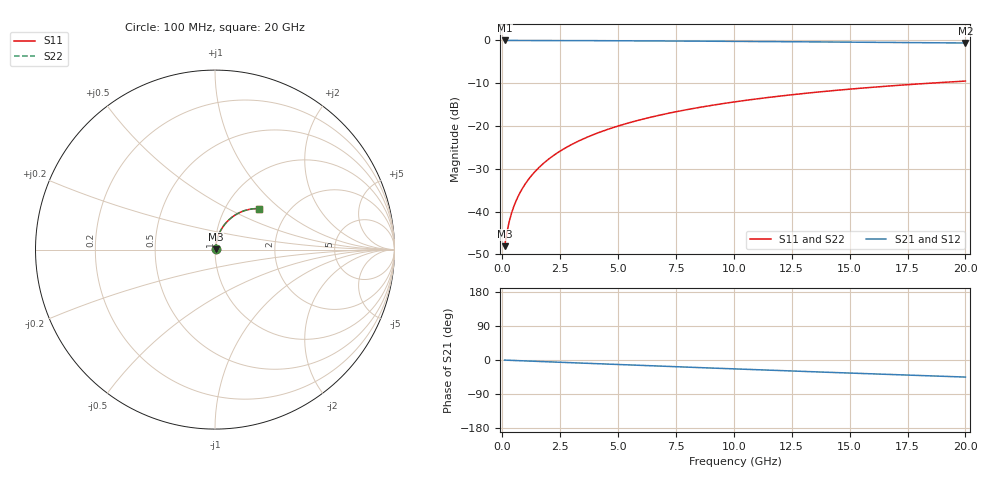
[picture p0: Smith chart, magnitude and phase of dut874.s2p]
! Touchstone file exported from HFSS 2026.1.0
!  File:  C:/ffzhzh/LocalFiles/Ansys_Project_Files/temp_train_BSMRDL_874_1783170945_51560.aedt
!  Generated:  09:16:56 PM Jul  4, 2026
!  Design:  BSMRDL
!  Project:  temp_train_BSMRDL_874_1783170945_51560
! Variables:
!  h_bsmrdl = 3.06um
!  h_ox = 20um
!  h_rdl = 5um
!  h_sub = 80um
!  h_tmrdl = 5um
!  h_tsv = 80um
!  h_via = 3um
!  l_bsmrdl = 697.11um
!  l_sub = 1097.11um
!  l_tmrdl = 200um
!  m_sub = 200um
!  pitch = 48.87um
!  r_tsv = 6um
!  s_tmrdl = 10um
!  w_bsmrdl = 28.24um
!  w_sub = 500um
!  w_tmrdl = 12um
!  x_tsv_center1 = 206um
!  x_tsv_center2 = 931.35um
!  x_tsv_center3 = 1143.35um
!  x_tsv_center4 = 1868.7um
!  x_tsv_center5 = 2080.7um
!  x_tsv_center6 = 2806.05um
# GHz S MA R 50.000000
! Terminal data exported
! Port[1] = BSM_RDL1_1_T1
! Port[2] = BSM_RDL1_1_T2
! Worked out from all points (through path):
!   200 points, 100 MHz to 20 GHz, reference 50 ohm
!   highest |S21| = -0.03 dB at 100 MHz (marker M1); lowest = -0.6 dB at 20 GHz (marker M2)
!   group delay of S21, straight-line fit = 6.26 ps
!   lowest |S11| = -48.1 dB at 100 MHz (marker M3), VSWR 1.01, Z = 50.3 + j0.237 ohm
!   |S11| at or under -10 dB: start of sweep to 18.5 GHz
!   |S22| runs from -48.1 to -9.5 dB; largest |S21 - S12| = 3.6e-15
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0.1  0.003939 36.6  0.9968 -0.3  0.9968 -0.3  0.003939 36.6
! Gamma 0 0 0 0
! Port Impedance 50 0 50 0
0.2  0.005712 53.5  0.9966 -0.5  0.9966 -0.5  0.005712 53.5
0.3  0.007648 61.3  0.9964 -0.8  0.9964 -0.8  0.007648 61.3
0.4  0.009583 65.7  0.9962 -1.0  0.9962 -1.0  0.009582 65.7
0.5  0.0115 68.7  0.996 -1.2  0.996 -1.2  0.0115 68.7
0.6  0.01342 70.9  0.9959 -1.5  0.9959 -1.5  0.01342 70.9
0.8  0.01728 73.9  0.9957 -1.9  0.9957 -1.9  0.01728 73.9
1.1  0.02313 76.4  0.9954 -2.7  0.9954 -2.7  0.02313 76.4
1.3  0.02707 77.4  0.9952 -3.1  0.9952 -3.1  0.02706 77.4
1.6  0.033 78.2  0.995 -3.9  0.995 -3.9  0.033 78.2
2.1  0.04293 78.7  0.9944 -5.0  0.9944 -5.0  0.04293 78.7
2.7  0.05484 78.4  0.9936 -6.5  0.9936 -6.5  0.05484 78.4
3.5  0.07063 77.4  0.9923 -8.4  0.9923 -8.4  0.07063 77.4
4.2  0.08432 76.2  0.9909 -10.0  0.9909 -10.0  0.08432 76.2
5  0.09978 74.7  0.9891 -11.9  0.9891 -11.9  0.09977 74.7
5.9  0.1169 72.8  0.9867 -14.0  0.9867 -14.0  0.1169 72.9
6.8  0.1337 70.9  0.9841 -16.1  0.9841 -16.1  0.1337 70.9
8.3  0.1609 67.7  0.9793 -19.6  0.9793 -19.6  0.1609 67.7
10.1  0.1921 63.8  0.9728 -23.7  0.9728 -23.7  0.1921 63.8
13.4  0.2453 56.7  0.9595 -31.0  0.9595 -31.0  0.2453 56.7
16.7  0.2928 49.8  0.9454 -38.1  0.9454 -38.1  0.2928 49.8
20  0.3343 43.0  0.9311 -45.0  0.9311 -45.0  0.3342 43.1
